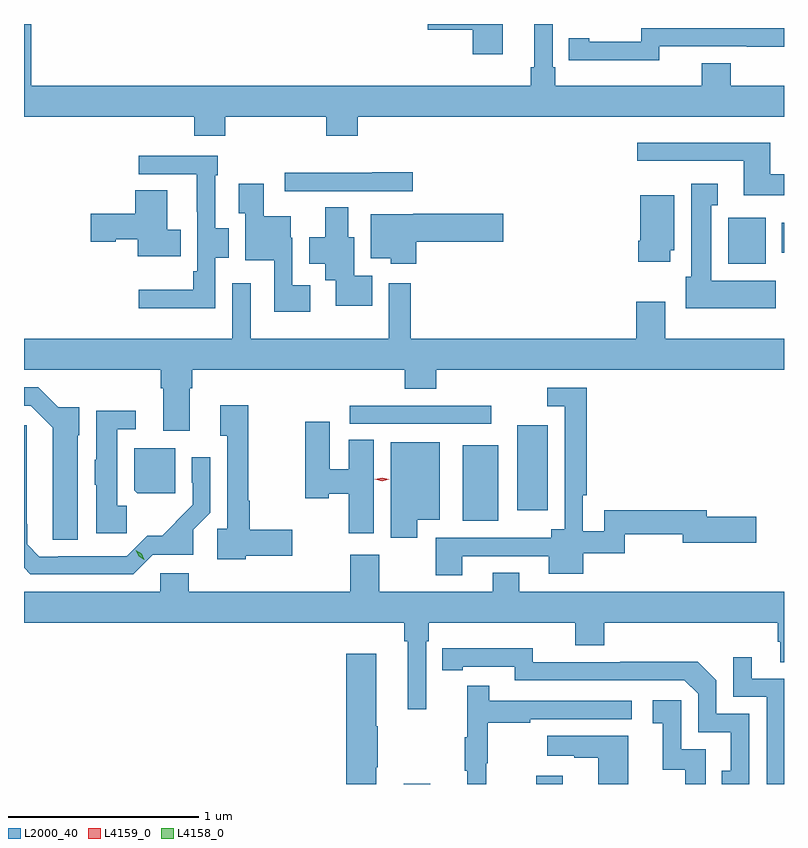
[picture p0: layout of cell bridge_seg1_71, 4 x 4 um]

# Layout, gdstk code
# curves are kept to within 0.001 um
import gdstk
lib = gdstk.Library(unit=1e-6, precision=1e-09)
def R(c, l, rs):  # rectangles x0, y0, x1, y1
    for r in rs: c.add(gdstk.rectangle(r[:2], r[2:], *l))
def P(c, l, *ps):  # polygons
    for p in ps: c.add(gdstk.Polygon(p, *l))
L2000_40 = (2000, 40)
L4158_0 = (4158, 0)
L4159_0 = (4159, 0)

bridge_seg1_71 = lib.new_cell('bridge_seg1_71')
R(bridge_seg1_71, L2000_40, [(539.501,572.196,539.641,572.197), (540.197,572.196,540.337,572.239), (539.81,573.581,539.998,573.979), (540.098,573.636,540.259,574.084), (539.217,574.092,539.962,574.188), (541.208,574.934,541.405,575.176), (541.49,574.993,541.502,575.149)])
P(bridge_seg1_71, L2000_40, [(541.502,575.872),(541.223,575.872),(541.223,575.989),(541.07,575.989),(541.07,575.872),(540.299,575.872),(540.299,575.968),(540.285,575.968),(540.285,576.196),(540.188,576.196),(540.188,575.968),(540.169,575.968),(540.169,575.872),(537.541,575.872),(537.541,576.196),(537.502,576.196),(537.502,575.708),(538.397,575.708),(538.397,575.609),(538.562,575.609),(538.562,575.708),(539.093,575.708),(539.093,575.609),(539.258,575.609),(539.258,575.708),(541.502,575.708)],
  [(540.022,576.196),(539.628,576.196),(539.628,576.166),(539.864,576.166),(539.864,576.036),(540.022,576.036)],
  [(540.846,576.078),(541.306,576.078),(541.306,576.077),(541.502,576.077),(541.502,576.174),(540.75,576.174),(540.75,576.102),(540.478,576.102),(540.478,576.122),(540.37,576.122),(540.37,576.006),(540.478,576.006),(540.478,576.005),(540.846,576.005)],
  [(541.502,575.404),(541.429,575.404),(541.429,575.572),(540.729,575.572),(540.729,575.475),(541.289,575.475),(541.289,575.294),(541.502,575.294)],
  [(538.509,574.966),(538.579,574.966),(538.579,575.121),(538.509,575.121),(538.509,575.399),(538.522,575.399),(538.522,575.502),(538.107,575.502),(538.107,575.406),(538.412,575.406),(538.412,575.209),(538.413,575.209),(538.413,574.894),(538.393,574.894),(538.393,574.798),(538.107,574.798),(538.107,574.7),(538.509,574.7)],
  [(539.548,575.417),(539.335,575.417),(539.335,575.414),(538.875,575.414),(538.875,575.316),(539.548,575.316)],
  [(541.459,574.846),(541.12,574.846),(541.12,575.243),(541.153,575.243),(541.153,575.356),(541.013,575.356),(541.013,574.866),(540.986,574.866),(540.986,574.7),(541.459,574.7)],
  [(539.008,574.822),(538.914,574.822),(538.914,575.07),(538.906,575.07),(538.906,575.185),(538.764,575.185),(538.764,575.356),(538.631,575.356),(538.631,575.2),(538.667,575.2),(538.667,574.952),(538.818,574.952),(538.818,574.682),(539.008,574.682)],
  [(538.328,575.113),(538.255,575.113),(538.255,575.321),(538.088,575.321),(538.088,575.198),(537.852,575.198),(537.852,575.051),(537.984,575.051),(537.984,575.063),(538.1,575.063),(538.1,574.973),(538.328,574.973)],
  [(540.904,575.004),(540.925,575.004),(540.925,575.296),(540.746,575.296),(540.746,575.056),(540.734,575.056),(540.734,574.944),(540.904,574.944)],
  [(539.336,574.87),(539.239,574.87),(539.239,575.074),(539.209,575.074),(539.209,575.231),(539.087,575.231),(539.087,575.074),(539.003,575.074),(539.003,574.934),(539.087,574.934),(539.087,574.847),(539.142,574.847),(539.142,574.712),(539.336,574.712)],
  [(539.567,575.051),(540.025,575.051),(540.025,575.198),(539.55,575.198),(539.55,575.194),(539.327,575.194),(539.327,574.964),(539.432,574.964),(539.432,574.934),(539.567,574.934)],
  [(538.375,574.28),(538.388,574.28),(538.388,574.376),(539.507,574.376),(539.507,574.277),(539.672,574.277),(539.672,574.376),(541.502,574.376),(541.502,574.54),(540.877,574.54),(540.877,574.735),(540.725,574.735),(540.725,574.54),(539.537,574.54),(539.537,574.831),(539.421,574.831),(539.421,574.54),(538.695,574.54),(538.695,574.831),(538.599,574.831),(538.599,574.54),(537.502,574.54),(537.502,574.376),(538.223,574.376),(538.223,574.28),(538.235,574.28),(538.235,574.056),(538.375,574.056)],
  [(537.784,574.032),(537.793,574.032),(537.793,574.179),(537.682,574.179),(537.577,574.284),(537.502,574.284),(537.502,574.188),(537.537,574.188),(537.653,574.072),(537.653,573.481),(537.784,573.481)],
  [(539.809,573.396),(540.263,573.396),(540.263,573.302),(540.445,573.302),(540.445,573.41),(540.664,573.41),(540.664,573.51),(540.968,573.51),(540.968,573.467),(541.357,573.467),(541.357,573.602),(541.096,573.602),(541.096,573.638),(540.555,573.638),(540.555,573.527),(540.444,573.527),(540.444,573.715),(540.464,573.715),(540.464,574.281),(540.255,574.281),(540.255,574.185),(540.348,574.185),(540.348,573.538),(540.278,573.538),(540.278,573.492),(539.669,573.492),(539.669,573.294),(539.809,573.294)],
  [(538.668,573.398),(538.915,573.398),(538.915,573.533),(538.69,573.533),(538.69,573.687),(538.681,573.687),(538.681,574.189),(538.535,574.189),(538.535,574.028),(538.572,574.028),(538.572,573.54),(538.52,573.54),(538.52,573.38),(538.668,573.38)],
  [(538.042,573.66),(537.994,573.66),(537.994,574.062),(538.09,574.062),(538.09,574.16),(537.881,574.16),(537.881,573.903),(537.875,573.903),(537.875,573.771),(537.881,573.771),(537.881,573.515),(538.042,573.515)],
  [(539.344,574.007),(539.21,574.007),(539.21,573.853),(539.11,573.853),(539.11,574.102),(538.981,574.102),(538.981,573.701),(539.106,573.701),(539.106,573.724),(539.21,573.724),(539.21,573.516),(539.344,573.516)],
  [(538.179,573.402),(538.393,573.402),(538.393,573.534),(538.482,573.623),(538.482,573.916),(538.386,573.916),(538.386,573.782),(538.389,573.782),(538.389,573.666),(538.3,573.577),(538.302,573.575),(538.229,573.502),(538.15,573.502),(538.044,573.396),(537.682,573.396),(537.682,573.393),(537.582,573.393),(537.518,573.458),(537.517,574.084),(537.502,574.084),(537.502,573.334),(537.536,573.3),(538.077,573.3)],
  [(539.572,573.587),(539.689,573.587),(539.689,573.994),(539.432,573.994),(539.432,573.491),(539.572,573.491)],
  [(538.297,573.964),(538.082,573.964),(538.082,573.741),(538.098,573.725),(538.297,573.725)],
  [(539.619,572.948),(539.633,572.948),(539.633,573.044),(540.404,573.044),(540.404,572.927),(540.557,572.927),(540.557,573.044),(541.469,573.044),(541.469,572.946),(541.481,572.946),(541.481,572.836),(541.502,572.836),(541.502,573.208),(540.109,573.208),(540.109,573.307),(539.969,573.307),(539.969,573.208),(539.373,573.208),(539.373,573.403),(539.218,573.403),(539.218,573.208),(538.37,573.208),(538.37,573.306),(538.218,573.306),(538.218,573.208),(537.502,573.208),(537.502,573.044),(539.503,573.044),(539.503,572.948),(539.522,572.948),(539.522,572.589),(539.619,572.589)],
  [(541.32,572.565),(541.146,572.565),(541.146,572.742),(541.048,572.84),(540.64,572.84),(540.64,572.838),(540.18,572.838),(540.18,572.911),(539.704,572.91),(539.704,572.794),(539.812,572.794),(539.812,572.814),(540.084,572.814),(540.084,572.742),(540.978,572.742),(541.05,572.67),(541.05,572.469),(541.223,572.469),(541.223,572.265),(541.174,572.265),(541.174,572.196),(541.32,572.196)],
  [(539.356,572.284),(539.364,572.284),(539.364,572.501),(539.356,572.501),(539.356,572.881),(539.198,572.881),(539.198,572.196),(539.356,572.196)],
  [(541.502,572.751),(541.333,572.751),(541.333,572.863),(541.236,572.863),(541.236,572.655),(541.41,572.655),(541.41,572.196),(541.502,572.196)],
  [(539.936,572.304),(539.944,572.304),(539.944,572.518),(540.167,572.518),(540.167,572.538),(540.7,572.538),(540.7,572.634),(539.951,572.634),(539.951,572.713),(539.834,572.713),(539.834,572.441),(539.823,572.441),(539.823,572.267),(539.834,572.267),(539.834,572.196),(539.936,572.196)],
  [(541.089,572.379),(540.96,572.379),(540.96,572.638),(540.81,572.638),(540.81,572.517),(540.863,572.517),(540.863,572.271),(540.981,572.271),(540.981,572.196),(541.089,572.196)],
  [(540.682,572.449),(540.255,572.449),(540.255,572.345),(540.398,572.345),(540.398,572.335),(540.524,572.335),(540.524,572.196),(540.682,572.196)])
P(bridge_seg1_71, L4158_0, [(538.136,573.375),(538.106,573.394),(538.091,573.427),(538.091,573.427),(538.091,573.427),(538.121,573.407),(538.136,573.375),(538.136,573.375)])
P(bridge_seg1_71, L4159_0, [(539.387,573.789),(539.349,573.799),(539.348,573.799),(539.349,573.8),(539.387,573.809),(539.425,573.799),(539.425,573.799),(539.425,573.799)])

lib.write_gds('bridge_seg1_71.gds')
